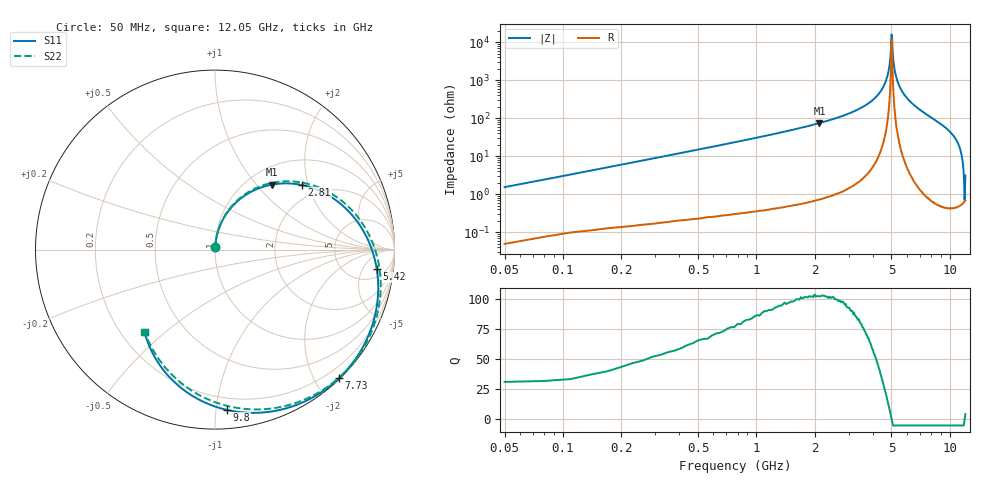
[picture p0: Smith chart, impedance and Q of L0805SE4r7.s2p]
! AVX Thin Film Operation		Date: May 2002
! Description: Accu-L® Series, Thin Film, SMD, RF Inductors
! Part Number: L08054R7CEWTR
! 50 MHz  -  12.05 GHz
! Serial Measurements
# mhz S db R 50
!	S11		S21		S12		S22
!	dB	Phase	dB	Phase	dB	Phase	dB	Phase
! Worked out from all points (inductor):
!   401 points, 50 MHz to 12.05 GHz, reference 50 ohm
!   read as 1/Y11, port 2 shorted: L = 4.74 nH near 110 MHz
!   highest Q = 102 at 2.12 GHz (marker M1), where L = 5.56 nH
!   self-resonance near 5 GHz
!   S11 on the Smith chart (normalised r, x): 50 MHz: 1.00, +0.03; 2.81 GHz: 1.61, +1.82; 5.42 GHz: 8, -10; 7.73 GHz: 0.02, -2.35; 9.8 GHz: 0.12, -1.07; 12.05 GHz: 0.29, -0.43
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50  -37.70 86.7  -0.00 -1.0  -0.00 -1.0  -37.70 86.7
260  -23.75 83.5  -0.03 -5.1  -0.03 -5.1  -23.75 83.6
590  -16.77 77.4  -0.11 -11.4  -0.11 -11.4  -16.77 77.8
1190  -10.90 66.1  -0.40 -22.8  -0.40 -22.8  -10.90 66.9
2060  -6.58 50.0  -1.12 -38.8  -1.12 -38.8  -6.58 51.3
2120  -6.37 48.9  -1.19 -39.9  -1.19 -39.9  -6.37 50.3
2810  -4.38 36.6  -2.03 -52.0  -2.03 -52.0  -4.38 38.5
4070  -2.15 15.2  -4.18 -73.0  -4.18 -73.0  -2.15 17.9
5420  -0.84 -6.9  -7.78 -94.6  -7.78 -94.6  -0.84 -3.4
6050  -0.46 -17.3  -10.38 -104.5  -10.38 -104.5  -0.46 -13.3
6740  -0.18 -28.8  -14.86 -115.4  -14.86 -115.4  -0.18 -24.5
7220  -0.08 -37.1  -20.77 -122.3  -20.77 -122.3  -0.08 -32.5
7460  -0.05 -41.3  -26.82 -123.8  -26.82 -123.8  -0.05 -36.7
7670  -0.04 -45.0  -41.38 -52.3  -41.38 -52.3  -0.04 -40.3
7730  -0.04 -46.1  -40.53 -6.2  -40.53 -6.2  -0.04 -41.4
7880  -0.05 -48.8  -28.55 37.0  -28.55 37.0  -0.05 -44.0
8060  -0.07 -52.1  -22.68 37.1  -22.68 37.1  -0.07 -47.3
8690  -0.23 -63.9  -13.87 27.3  -13.87 27.3  -0.23 -59.0
9800  -0.96 -85.8  -7.30 5.8  -7.30 5.8  -0.97 -81.2
10070  -1.23 -91.3  -6.30 0.3  -6.30 0.3  -1.24 -86.8
11090  -2.63 -111.9  -3.57 -21.0  -3.57 -21.0  -2.65 -109.0
12050  -4.37 -130.4  -2.09 -41.0  -2.09 -41.0  -4.40 -130.7
